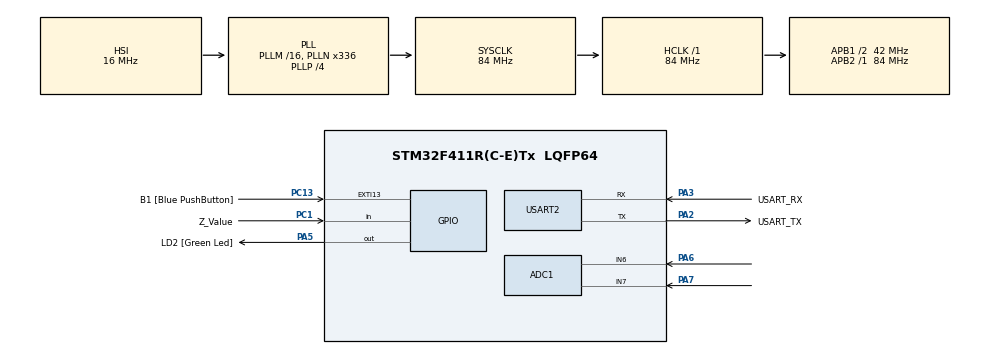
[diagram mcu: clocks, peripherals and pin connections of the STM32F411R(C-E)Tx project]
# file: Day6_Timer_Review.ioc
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ADC1.Channel-0\#ChannelRegularConversion=ADC_CHANNEL_6
ADC1.Channel-1\#ChannelRegularConversion=ADC_CHANNEL_7
ADC1.NbrOfConversion=2
ADC1.NbrOfConversionFlag=1
ADC1.Rank-0\#ChannelRegularConversion=1
ADC1.Rank-1\#ChannelRegularConversion=2
ADC1.SamplingTime-0\#ChannelRegularConversion=ADC_SAMPLETIME_84CYCLES
ADC1.SamplingTime-1\#ChannelRegularConversion=ADC_SAMPLETIME_84CYCLES
ADC1.ScanConvMode=ENABLE
ADC1.master=1
Mcu.Family=STM32F4
Mcu.Name=STM32F411R(C-E)Tx
Mcu.Package=LQFP64
NVIC.PriorityGroup=NVIC_PRIORITYGROUP_0
NVIC.TIM4_IRQn=true\:0\:0\:false\:false\:true\:true\:true\:true
PA13.GPIO_Label=TMS
PA13.Mode=Serial_Wire
PA13.Signal=SYS_JTMS-SWDIO
PA14.GPIO_Label=TCK
PA14.Mode=Serial_Wire
PA14.Signal=SYS_JTCK-SWCLK
PA2.GPIO_Label=USART_TX
PA2.Mode=Asynchronous
PA2.Signal=USART2_TX
PA3.GPIO_Label=USART_RX
PA3.Mode=Asynchronous
PA3.Signal=USART2_RX
PA5.GPIO_Label=LD2 [Green Led]
PA5.Signal=GPIO_Output
PA6.Signal=ADCx_IN6
PA7.Signal=ADCx_IN7
PB3.GPIO_Label=SWO
PB3.Signal=SYS_JTDO-SWO
PC1.GPIO_Label=Z_Value
PC1.Signal=GPIO_Input
PC13-ANTI_TAMP.GPIO_Label=B1 [Blue PushButton]
PC13-ANTI_TAMP.GPIO_ModeDefaultEXTI=GPIO_MODE_IT_FALLING
PC13-ANTI_TAMP.Signal=GPXTI13
PC14-OSC32_IN.Mode=LSE-External-Oscillator
PC14-OSC32_IN.Signal=RCC_OSC32_IN
PC15-OSC32_OUT.Mode=LSE-External-Oscillator
PC15-OSC32_OUT.Signal=RCC_OSC32_OUT
PH0\ -\ OSC_IN.Mode=HSE-External-Clock-Source
PH0\ -\ OSC_IN.Signal=RCC_OSC_IN
PH1\ -\ OSC_OUT.Mode=HSE-External-Clock-Source
PH1\ -\ OSC_OUT.Signal=RCC_OSC_OUT
ProjectManager.HeapSize=0x200
ProjectManager.StackSize=0x400
ProjectManager.TargetToolchain=STM32CubeIDE
RCC.48MHZClocksFreq_Value=84000000
RCC.AHBFreq_Value=84000000
RCC.APB1CLKDivider=RCC_HCLK_DIV2
RCC.APB1Freq_Value=42000000
RCC.APB1TimFreq_Value=84000000
RCC.APB2Freq_Value=84000000
RCC.APB2TimFreq_Value=84000000
RCC.CortexFreq_Value=84000000
RCC.FLatency-AdvancedSettings=FLASH_LATENCY_2
RCC.HCLKFreq_Value=84000000
RCC.HSE_VALUE=8000000
RCC.HSI_VALUE=16000000
RCC.PLLN=336
RCC.PLLP=RCC_PLLP_DIV4
RCC.SYSCLKFreq_VALUE=84000000
RCC.SYSCLKSource=RCC_SYSCLKSOURCE_PLLCLK
RCC.VCOOutputFreq_Value=336000000
SH.ADCx_IN6.0=ADC1_IN6,IN6
SH.ADCx_IN7.0=ADC1_IN7,IN7
TIM4.Period=10000-1
TIM4.Prescaler=8400-1
USART2.VirtualMode=VM_ASYNC
VP_TIM4_VS_ClockSourceINT.Mode=Internal
board=NUCLEO-F411RE

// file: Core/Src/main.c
/* USER CODE BEGIN Header */
/**
  ******************************************************************************
  * @file           : main.c
  * @brief          : Main program body
  ******************************************************************************
  * @attention
  *
  * Copyright (c) 2023 STMicroelectronics.
  * All rights reserved.
  *
  * This software is licensed under terms that can be found in the LICENSE file
  * in the root directory of this software component.
  * If no LICENSE file comes with this software, it is provided AS-IS.
  *
  ******************************************************************************
  */
/* USER CODE END Header */
#include "main.h"

ADC_HandleTypeDef hadc1;

TIM_HandleTypeDef htim4;

UART_HandleTypeDef huart2;

void SystemClock_Config(void);
static void MX_GPIO_Init(void);
static void MX_USART2_UART_Init(void);
static void MX_TIM4_Init(void);
static void MX_ADC1_Init(void);

/* USER CODE BEGIN 0 */
int __io_putchar(int ch)
{
	HAL_UART_Transmit(&huart2, &ch, 1, 100);
}

int xVal, yVal, zVal;
int cnt;
int dir = 0;
char *dirs[] = {"F", "B", "R", "L", "FR", "FL", "BR", "BL"};

void GetDirection()
{
	if(xVal > 3000)
	{
		if(yVal > 3000) dir = 6;
		else if(yVal > 1000) dir = 7;
		else dir = 8;
	}
	else if(xVal < 1000)
	{
		if(yVal > 3000) dir = 4;
		else if(yVal > 1000) dir = 3;
		else dir = 2;
	}
	else
	{
		if(yVal > 3000) dir = 5;
		else dir = 1;
	}
}

void Joystick()
{
	HAL_ADC_Start(&hadc1);
	HAL_ADC_PollForConversion(&hadc1, 100);
	xVal = HAL_ADC_GetValue(&hadc1); // Read x_Value

	HAL_ADC_PollForConversion(&hadc1, 100);
	yVal = HAL_ADC_GetValue(&hadc1); // Read x_Value

	HAL_GPIO_ReadPin(Z_Value_GPIO_Port, Z_Value_Pin);
	GetDirection();
	printf("\r x:%d  y:%d  z:%d    Driection : %s      \r", xVal, yVal, zVal, dirs[dir]);
}

void HAL_TIM_PeriodElapsedCallback(TIM_HandleTypeDef *htim)
{
	if(htim->Instance == "TIM4") // 인터럽트가 TIM4에서만 동작하도록
	Joystick();
}
/* USER CODE END 0 */

int main(void)
{

  /* MCU Configuration--------------------------------------------------------*/

  /* Reset of all peripherals, Initializes the Flash interface and the Systick. */
  HAL_Init();

  /* Configure the system clock */
  SystemClock_Config();

  /* Initialize all configured peripherals */
  MX_GPIO_Init();
  MX_USART2_UART_Init();
  MX_TIM4_Init();
  MX_ADC1_Init();

  HAL_TIM_Base_Start_IT(&htim4);

  /* Infinite loop */
  while (1)
  {

  }
}

void SystemClock_Config(void)
{
  RCC_OscInitTypeDef RCC_OscInitStruct = {0};
  RCC_ClkInitTypeDef RCC_ClkInitStruct = {0};

  /** Configure the main internal regulator output voltage
  */
  __HAL_RCC_PWR_CLK_ENABLE();
  __HAL_PWR_VOLTAGESCALING_CONFIG(PWR_REGULATOR_VOLTAGE_SCALE1);

  /** Initializes the RCC Oscillators according to the specified parameters
  * in the RCC_OscInitTypeDef structure.
  */
  RCC_OscInitStruct.OscillatorType = RCC_OSCILLATORTYPE_HSI;
  RCC_OscInitStruct.HSIState = RCC_HSI_ON;
  RCC_OscInitStruct.HSICalibrationValue = RCC_HSICALIBRATION_DEFAULT;
  RCC_OscInitStruct.PLL.PLLState = RCC_PLL_ON;
  RCC_OscInitStruct.PLL.PLLSource = RCC_PLLSOURCE_HSI;
  RCC_OscInitStruct.PLL.PLLM = 16;
  RCC_OscInitStruct.PLL.PLLN = 336;
  RCC_OscInitStruct.PLL.PLLP = RCC_PLLP_DIV4;
  RCC_OscInitStruct.PLL.PLLQ = 4;
  if (HAL_RCC_OscConfig(&RCC_OscInitStruct) != HAL_OK)
  {
    Error_Handler();
  }

  /** Initializes the CPU, AHB and APB buses clocks
  */
  RCC_ClkInitStruct.ClockType = RCC_CLOCKTYPE_HCLK|RCC_CLOCKTYPE_SYSCLK
                              |RCC_CLOCKTYPE_PCLK1|RCC_CLOCKTYPE_PCLK2;
  RCC_ClkInitStruct.SYSCLKSource = RCC_SYSCLKSOURCE_PLLCLK;
  RCC_ClkInitStruct.AHBCLKDivider = RCC_SYSCLK_DIV1;
  RCC_ClkInitStruct.APB1CLKDivider = RCC_HCLK_DIV2;
  RCC_ClkInitStruct.APB2CLKDivider = RCC_HCLK_DIV1;

  if (HAL_RCC_ClockConfig(&RCC_ClkInitStruct, FLASH_LATENCY_2) != HAL_OK)
  {
    Error_Handler();
  }
}

static void MX_ADC1_Init(void)
{

  ADC_ChannelConfTypeDef sConfig = {0};

  /** Configure the global features of the ADC (Clock, Resolution, Data Alignment and number of conversion)
  */
  hadc1.Instance = ADC1;
  hadc1.Init.ClockPrescaler = ADC_CLOCK_SYNC_PCLK_DIV4;
  hadc1.Init.Resolution = ADC_RESOLUTION_12B;
  hadc1.Init.ScanConvMode = ENABLE;
  hadc1.Init.ContinuousConvMode = DISABLE;
  hadc1.Init.DiscontinuousConvMode = DISABLE;
  hadc1.Init.ExternalTrigConvEdge = ADC_EXTERNALTRIGCONVEDGE_NONE;
  hadc1.Init.ExternalTrigConv = ADC_SOFTWARE_START;
  hadc1.Init.DataAlign = ADC_DATAALIGN_RIGHT;
  hadc1.Init.NbrOfConversion = 2;
  hadc1.Init.DMAContinuousRequests = DISABLE;
  hadc1.Init.EOCSelection = ADC_EOC_SINGLE_CONV;
  if (HAL_ADC_Init(&hadc1) != HAL_OK)
  {
    Error_Handler();
  }

  /** Configure for the selected ADC regular channel its corresponding rank in the sequencer and its sample time.
  */
  sConfig.Channel = ADC_CHANNEL_6;
  sConfig.Rank = 1;
  sConfig.SamplingTime = ADC_SAMPLETIME_84CYCLES;
  if (HAL_ADC_ConfigChannel(&hadc1, &sConfig) != HAL_OK)
  {
    Error_Handler();
  }

  /** Configure for the selected ADC regular channel its corresponding rank in the sequencer and its sample time.
  */
  sConfig.Channel = ADC_CHANNEL_7;
  sConfig.Rank = 2;
  if (HAL_ADC_ConfigChannel(&hadc1, &sConfig) != HAL_OK)
  {
    Error_Handler();
  }

}

static void MX_TIM4_Init(void)
{

  TIM_ClockConfigTypeDef sClockSourceConfig = {0};
  TIM_MasterConfigTypeDef sMasterConfig = {0};

  htim4.Instance = TIM4;
  htim4.Init.Prescaler = 8400-1;
  htim4.Init.CounterMode = TIM_COUNTERMODE_UP;
  htim4.Init.Period = 10000-1;
  htim4.Init.ClockDivision = TIM_CLOCKDIVISION_DIV1;
  htim4.Init.AutoReloadPreload = TIM_AUTORELOAD_PRELOAD_DISABLE;
  if (HAL_TIM_Base_Init(&htim4) != HAL_OK)
  {
    Error_Handler();
  }
  sClockSourceConfig.ClockSource = TIM_CLOCKSOURCE_INTERNAL;
  if (HAL_TIM_ConfigClockSource(&htim4, &sClockSourceConfig) != HAL_OK)
  {
    Error_Handler();
  }
  sMasterConfig.MasterOutputTrigger = TIM_TRGO_RESET;
  sMasterConfig.MasterSlaveMode = TIM_MASTERSLAVEMODE_DISABLE;
  if (HAL_TIMEx_MasterConfigSynchronization(&htim4, &sMasterConfig) != HAL_OK)
  {
    Error_Handler();
  }

}

static void MX_USART2_UART_Init(void)
{

  huart2.Instance = USART2;
  huart2.Init.BaudRate = 115200;
  huart2.Init.WordLength = UART_WORDLENGTH_8B;
  huart2.Init.StopBits = UART_STOPBITS_1;
  huart2.Init.Parity = UART_PARITY_NONE;
  huart2.Init.Mode = UART_MODE_TX_RX;
  huart2.Init.HwFlowCtl = UART_HWCONTROL_NONE;
  huart2.Init.OverSampling = UART_OVERSAMPLING_16;
  if (HAL_UART_Init(&huart2) != HAL_OK)
  {
    Error_Handler();
  }

}

static void MX_GPIO_Init(void)
{
  GPIO_InitTypeDef GPIO_InitStruct = {0};

  /* GPIO Ports Clock Enable */
  __HAL_RCC_GPIOC_CLK_ENABLE();
  __HAL_RCC_GPIOH_CLK_ENABLE();
  __HAL_RCC_GPIOA_CLK_ENABLE();
  __HAL_RCC_GPIOB_CLK_ENABLE();

  /*Configure GPIO pin Output Level */
  HAL_GPIO_WritePin(LD2_GPIO_Port, LD2_Pin, GPIO_PIN_RESET);

  /*Configure GPIO pin : B1_Pin */
  GPIO_InitStruct.Pin = B1_Pin;
  GPIO_InitStruct.Mode = GPIO_MODE_IT_FALLING;
  GPIO_InitStruct.Pull = GPIO_NOPULL;
  HAL_GPIO_Init(B1_GPIO_Port, &GPIO_InitStruct);

  /*Configure GPIO pin : Z_Value_Pin */
  GPIO_InitStruct.Pin = Z_Value_Pin;
  GPIO_InitStruct.Mode = GPIO_MODE_INPUT;
  GPIO_InitStruct.Pull = GPIO_NOPULL;
  HAL_GPIO_Init(Z_Value_GPIO_Port, &GPIO_InitStruct);

  /*Configure GPIO pin : LD2_Pin */
  GPIO_InitStruct.Pin = LD2_Pin;
  GPIO_InitStruct.Mode = GPIO_MODE_OUTPUT_PP;
  GPIO_InitStruct.Pull = GPIO_NOPULL;
  GPIO_InitStruct.Speed = GPIO_SPEED_FREQ_LOW;
  HAL_GPIO_Init(LD2_GPIO_Port, &GPIO_InitStruct);

}

void Error_Handler(void)
{
  __disable_irq();
  while (1)
  {
  }
}
